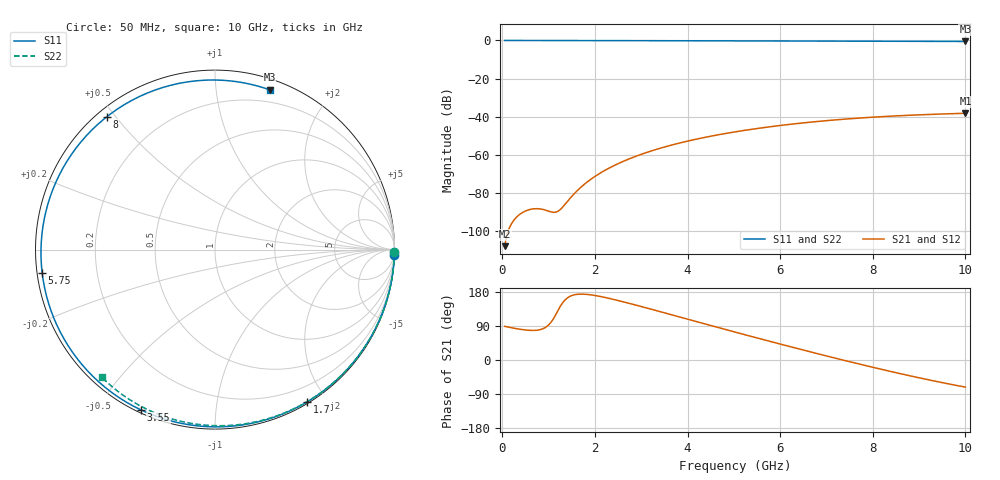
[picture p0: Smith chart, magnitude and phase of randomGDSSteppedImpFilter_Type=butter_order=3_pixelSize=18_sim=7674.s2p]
! freq	dB(S11)	phase(S11)	dB(S12)	phase(S12)
!  dB(S21)	phase(S21)	dB(S22)	phase(S22)
!S-par simulation data
#  GHz  S  DB  R 50
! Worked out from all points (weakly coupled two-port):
!   200 points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, 50 MHz to 10 GHz, reference 50 ohm
!   highest |S21| = -38.16 dB at 10 GHz (marker M1); lowest = -107.8 dB at 50 MHz (marker M2)
!   lowest |S11| = -0.5 dB at 10 GHz (marker M3), VSWR 32.79, Z = 4.5 + j69.7 ohm
!   |S11| at or under -10 dB: nowhere
!   |S22| runs from -0.4 to 0.0 dB; largest |S21 - S12| = 0
!   S11 on the Smith chart (normalised r, x): 50 MHz: 0, -63; 1.7 GHz: 0.02, -1.77; 3.55 GHz: 0.01, -0.64; 5.75 GHz: 0.01, -0.07; 8 GHz: 0.03, +0.48; 10 GHz: 0.09, +1.39
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0.05  -0.00 -1.8  -107.79 88.9  -107.79 88.9  -0.00 -0.8
0.4  -0.02 -14.3  -90.70 80.8  -90.70 80.8  -0.01 -6.1
0.75  -0.03 -26.6  -88.16 78.7  -88.16 78.7  -0.01 -11.3
1.15  -0.05 -40.5  -90.01 118.6  -90.01 118.6  -0.02 -17.3
1.55  -0.07 -54.0  -80.39 171.9  -80.39 171.9  -0.03 -23.3
1.7  -0.07 -58.9  -76.84 173.8  -76.84 173.8  -0.03 -25.5
1.75  -0.07 -60.5  -75.79 173.7  -75.79 173.7  -0.03 -26.2
2.05  -0.09 -70.2  -70.46 169.2  -70.46 169.2  -0.04 -30.6
2.45  -0.10 -82.7  -65.13 158.5  -65.13 158.5  -0.05 -36.5
2.9  -0.12 -96.2  -60.55 144.4  -60.55 144.4  -0.06 -42.9
3.4  -0.13 -110.5  -56.55 127.9  -56.55 127.9  -0.07 -50.0
3.55  -0.14 -114.7  -55.51 122.9  -55.51 122.9  -0.07 -52.1
4.3  -0.17 -135.0  -51.15 97.8  -51.15 97.8  -0.09 -62.3
5.05  -0.21 -154.5  -47.80 72.9  -47.80 72.9  -0.11 -72.3
5.75  -0.25 -172.3  -45.32 50.1  -45.32 50.1  -0.14 -81.3
6.2  -0.28 176.3  -43.99 35.7  -43.99 35.7  -0.16 -87.0
6.7  -0.31 163.5  -42.70 20.0  -42.70 20.0  -0.18 -93.2
7.35  -0.36 146.6  -41.31 0.0  -41.31 0.0  -0.22 -101.1
8  -0.40 129.1  -40.20 -19.2  -40.20 -19.2  -0.26 -108.7
8.35  -0.43 119.4  -39.71 -29.3  -39.71 -29.3  -0.29 -112.8
9.2  -0.48 95.0  -38.78 -52.2  -38.78 -52.2  -0.36 -122.6
10  -0.53 71.2  -38.16 -71.6  -38.16 -71.6  -0.45 -131.6
